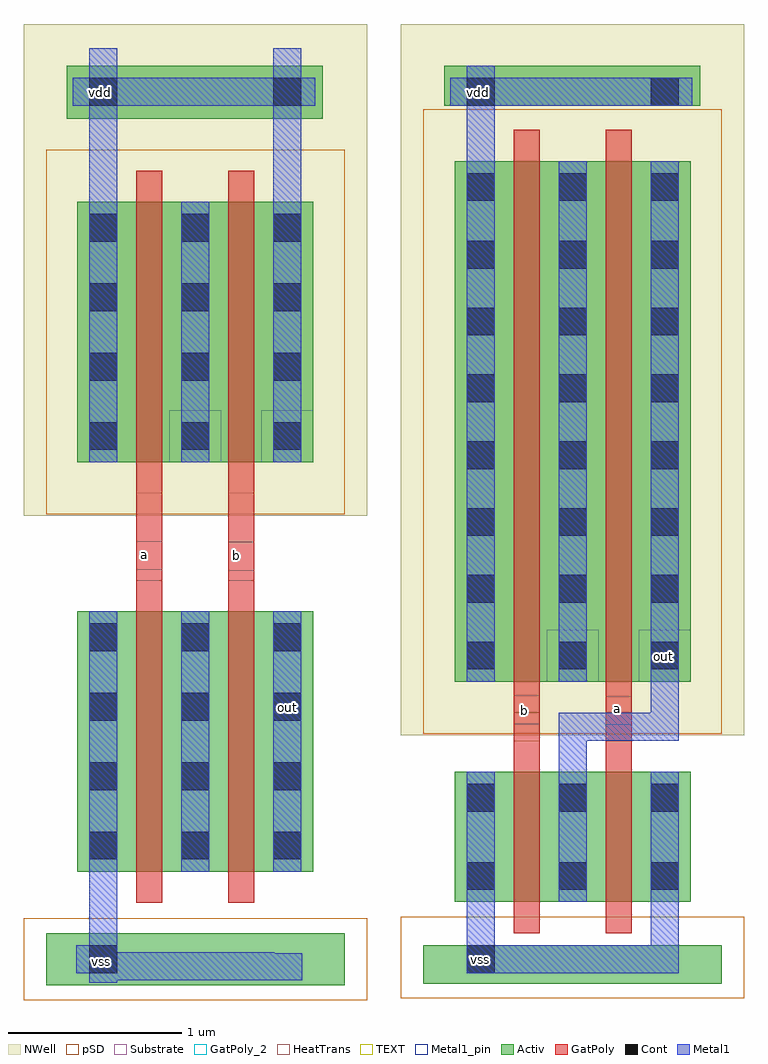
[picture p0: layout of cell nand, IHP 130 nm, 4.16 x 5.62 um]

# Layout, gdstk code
import gdstk
lib = gdstk.Library(unit=1e-6, precision=5e-09)
def R(c, l, rs):  # rectangles x0, y0, x1, y1
    for r in rs: c.add(gdstk.rectangle(r[:2], r[2:], *l))
def A(c, l, x, y, w, h, nx, ny, dx, dy):  # array of equal rectangles
    R(c, l, [(x+i*dx, y+j*dy, x+i*dx+w, y+j*dy+h) for i in range(nx) for j in range(ny)])
def P(c, l, *ps):  # polygons
    for p in ps: c.add(gdstk.Polygon(p, *l))
Activ = (1, 0)
GatPoly = (5, 0)
GatPoly_2 = (5, 2)
Cont = (6, 0)
Metal1 = (8, 0)
Metal1_pin = (8, 2)
pSD = (14, 0)
NWell = (31, 0)
Substrate = (40, 0)
HeatTrans = (51, 0)
TEXT = (63, 0)

nmos_1 = lib.new_cell('nmos$1')
R(nmos_1, Activ, [(0,0,0.3,0.3), (0,0,0.83,1.5), (0.53,0,0.83,0.3)])
R(nmos_1, GatPoly, [(0.34,-0.18,0.49,1.68)])
R(nmos_1, GatPoly_2, [(0.34,-0.18,0.49,1.68)])
A(nmos_1, Cont, 0.07, 0.07, 0.16, 0.16, 1, 4, 0, 0.4)
A(nmos_1, Cont, 0.6, 0.07, 0.16, 0.16, 1, 4, 0, 0.4)
R(nmos_1, Metal1, [(0.07,0,0.23,1.5), (0.6,0,0.76,1.5)])
R(nmos_1, Metal1_pin, [(0.07,0,0.23,1.5), (0.6,0,0.76,1.5)])
R(nmos_1, HeatTrans, [(0.34,-0.18,0.49,1.68)])
nmos_1.add(gdstk.Label('nmos', (0.415,0.75), layer=63, texttype=0))
nmos_1.add(gdstk.Label('nmos', (0.415,0.75), layer=51, texttype=0))

pmos = lib.new_cell('pmos')
R(pmos, Activ, [(0,0,0.3,0.3), (0,0,0.83,1.5), (0.53,0,0.83,0.3)])
R(pmos, GatPoly, [(0.34,-0.18,0.49,1.68), (0.34,-0.18,0.49,1.68)])
A(pmos, Cont, 0.07, 0.07, 0.16, 0.16, 1, 4, 0, 0.4)
A(pmos, Cont, 0.6, 0.07, 0.16, 0.16, 1, 4, 0, 0.4)
R(pmos, Metal1, [(0.07,0,0.23,1.5), (0.07,0,0.23,1.5), (0.6,0,0.76,1.5), (0.6,0,0.76,1.5)])
R(pmos, pSD, [(-0.18,-0.3,1.01,1.8)])
R(pmos, NWell, [(-0.31,-0.31,1.14,1.81)])
R(pmos, Substrate, [(0.53,0,0.83,0.3)])
R(pmos, HeatTrans, [(0.34,-0.18,0.49,1.68)])
pmos.add(gdstk.Label('pmos', (0.415,0.75), layer=63, texttype=0))
pmos.add(gdstk.Label('pmos', (0.415,0.75), layer=51, texttype=0))

pmos_1 = lib.new_cell('pmos$1')
R(pmos_1, Activ, [(0,0,0.3,0.3), (0,0,0.83,3), (0.53,0,0.83,0.3)])
R(pmos_1, GatPoly, [(0.34,-0.18,0.49,3.18), (0.34,-0.18,0.49,3.18)])
A(pmos_1, Cont, 0.07, 0.07, 0.16, 0.16, 1, 7, 0, 0.385)
A(pmos_1, Cont, 0.6, 0.07, 0.16, 0.16, 1, 7, 0, 0.385)
R(pmos_1, Cont, [(0.07,2.77,0.23,2.93), (0.6,2.77,0.76,2.93)])
R(pmos_1, Metal1, [(0.07,0,0.23,3), (0.07,0,0.23,3), (0.6,0,0.76,3), (0.6,0,0.76,3)])
R(pmos_1, pSD, [(-0.18,-0.3,1.01,3.3)])
R(pmos_1, NWell, [(-0.31,-0.31,1.14,3.31)])
R(pmos_1, Substrate, [(0.53,0,0.83,0.3)])
R(pmos_1, HeatTrans, [(0.34,-0.18,0.49,3.18)])
pmos_1.add(gdstk.Label('pmos', (0.415,1.5), layer=63, texttype=0))
pmos_1.add(gdstk.Label('pmos', (0.415,1.5), layer=51, texttype=0))

nmos = lib.new_cell('nmos')
R(nmos, Activ, [(0,0,0.3,0.3), (0,0,0.83,0.75), (0.53,0,0.83,0.3)])
R(nmos, GatPoly, [(0.34,-0.18,0.49,0.93)])
R(nmos, GatPoly_2, [(0.34,-0.18,0.49,0.93)])
R(nmos, Cont, [(0.07,0.07,0.23,0.23), (0.6,0.07,0.76,0.23), (0.07,0.52,0.23,0.68), (0.6,0.52,0.76,0.68)])
R(nmos, Metal1, [(0.07,0,0.23,0.75), (0.6,0,0.76,0.75)])
R(nmos, Metal1_pin, [(0.07,0,0.23,0.75), (0.6,0,0.76,0.75)])
R(nmos, HeatTrans, [(0.34,-0.18,0.49,0.93)])
nmos.add(gdstk.Label('nmos', (0.415,0.375), layer=63, texttype=0))
nmos.add(gdstk.Label('nmos', (0.415,0.375), layer=51, texttype=0))

nand = lib.new_cell('nand')
R(nand, Activ, [(-2.805,-1.82,-1.085,-1.52), (-0.63,-1.81,1.09,-1.59), (-2.685,3.175,-1.21,3.48), (-0.51,3.25,0.965,3.48)])
R(nand, GatPoly, [(0.42,-1.14,0.57,-0.23), (-0.11,-1.135,0.04,-0.23), (-2.285,-0.62,-2.135,1.06), (-1.755,-0.62,-1.605,1.07)])
R(nand, GatPoly_2, [(0.42,-0.32,0.57,-0.155), (-0.11,-0.315,0.04,-0.15), (-1.755,0.57,-1.605,0.735), (-2.285,0.575,-2.135,0.74)])
R(nand, Cont, [(-2.555,-1.75,-2.395,-1.59), (-0.38,-1.75,-0.22,-1.59), (-2.555,3.25,-2.395,3.41), (-1.495,3.25,-1.335,3.41), (-0.38,3.25,-0.22,3.41), (0.68,3.25,0.84,3.41)])
R(nand, Metal1, [(-2.555,-1.805,-2.395,-1.59), (-2.63,-1.75,-2.395,-1.59), (-2.555,2.465,-2.395,3.58), (-1.495,2.695,-1.335,3.58), (-0.38,2.7,-0.22,3.48), (-2.65,3.25,-1.255,3.41), (-0.475,3.25,0.92,3.41)])
P(nand, Metal1, [(-2.025,1.195),(-2.025,1.195),(-1.865,1.195),(-1.865,1.195)])
R(nand, Metal1_pin, [(-0.38,-1.75,-0.22,-1.59), (-1.495,-0.295,-1.335,-0.135), (0.68,0,0.84,0.16), (-2.555,3.25,-2.395,3.41), (-1.495,3.25,-1.335,3.41), (-0.38,3.25,-0.22,3.41), (0.68,3.25,0.84,3.41)])
R(nand, pSD, [(-2.935,-1.905,-0.955,-1.435), (-0.76,-1.895,1.22,-1.425)])
R(nand, NWell, [(-2.935,3.005,-0.955,3.72), (-0.76,3.24,1.22,3.72)])
nand.add(gdstk.FlexPath([(-0.3,-1.1),(-0.3,-1.67),(0.76,-1.67),(0.76,-1.105)], 0.16, ends="flush", simple_path=True, layer=8, datatype=0))  # Metal1
nand.add(gdstk.FlexPath([(0.23,-0.78),(0.23,-0.33),(0.76,-0.33),(0.76,0.08)], 0.16, ends="flush", simple_path=True, layer=8, datatype=0))  # Metal1
nand.add(gdstk.FlexPath([(-1.415,0.105),(-1.415,-0.025)], 0.16, ends="flush", simple_path=True, layer=8, datatype=0))  # Metal1
nand.add(gdstk.FlexPath([(-2.475,-0.935),(-2.475,-1.71),(-1.41,-1.71),(-1.41,-1.635)], 0.16, ends="flush", simple_path=True, layer=8, datatype=0))  # Metal1
nand.add(gdstk.FlexPath([(-2.475,-1.67),(-2.555,-1.67),(-2.555,-1.67)], 0.16, ends="flush", simple_path=True, layer=63, datatype=0))  # TEXT
nand.add(gdstk.Reference(nmos_1, (-2.625,-1.165)))
nand.add(gdstk.Reference(nmos_1, (-2.095,-1.165)))
nand.add(gdstk.Reference(pmos, (-2.625,1.195)))
nand.add(gdstk.Reference(pmos, (-2.095,1.195)))
nand.add(gdstk.Reference(pmos_1, (-0.45,-0.07)))
nand.add(gdstk.Reference(pmos_1, (0.08,-0.07)))
nand.add(gdstk.Reference(nmos, (-0.45,-1.34)))
nand.add(gdstk.Reference(nmos, (0.08,-1.34)))
nand.add(gdstk.Label('vdd', (-2.49,3.325), layer=8, texttype=2))
nand.add(gdstk.Label('vss', (-0.3,-1.67), layer=8, texttype=2))
nand.add(gdstk.Label('vdd', (-0.315,3.325), layer=8, texttype=2))
nand.add(gdstk.Label('out', (0.755,0.075), layer=8, texttype=2))
nand.add(gdstk.Label('out', (-1.415,-0.22), layer=8, texttype=2))
nand.add(gdstk.Label('vss', (-2.485,-1.685), layer=8, texttype=2))
nand.add(gdstk.Label('a', (0.49,-0.225), layer=5, texttype=2))
nand.add(gdstk.Label('b', (-0.045,-0.235), layer=5, texttype=2))
nand.add(gdstk.Label('b', (-1.705,0.655), layer=5, texttype=2))
nand.add(gdstk.Label('a', (-2.235,0.66), layer=5, texttype=2))

lib.write_gds('nand.gds')
